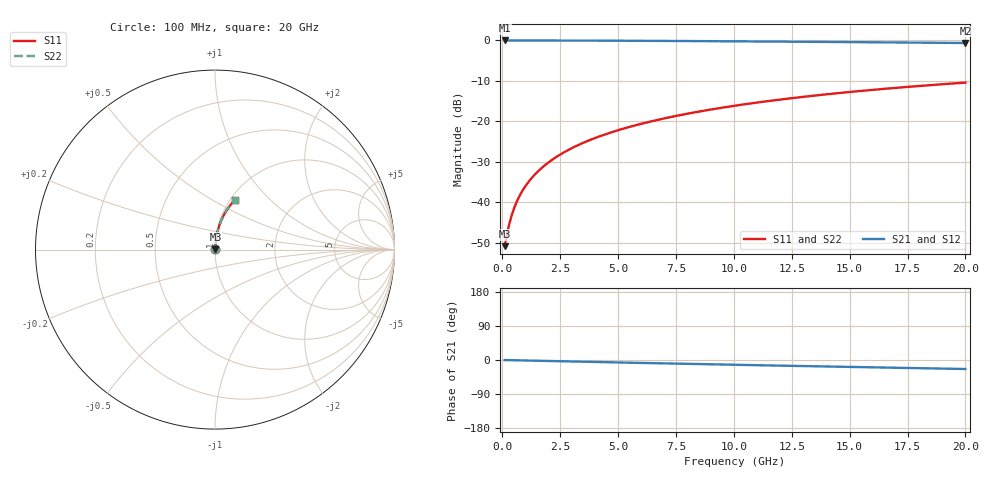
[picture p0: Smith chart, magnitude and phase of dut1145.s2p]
! Touchstone file exported from HFSS 2024.1.0
!  File:  C:/UserFiles/LocalFiles/RDL_TSV_Batchsim/temp_RDL_top_1145_1780047951.aedt
!  Generated:  05:47:56 PM May 29, 2026
!  Design:  RDL_top
!  Project:  temp_RDL_top_1145_1780047951
!  Setup:  Setup1
!  Solution:  Sweep
! Variables:
!  dtsv = 10.80580581um
!  hbump = 3um
!  htsv = 86.89um
!  ldown = 100um
!  lrdl = 265.81um
!  p = 40
!  p1 = 48.4um
!  rhole = 1um
!  t = 450um
!  tdown = 3.915915916um
!  trdl = 3.48um
!  wdown = 15.38538539um
!  wrdl = 11.99um
# GHz S MA R 50.000000
! Terminal data exported
! Port[1] = Box2_T1
! Port[2] = Box2_T2
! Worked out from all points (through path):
!   200 points, 100 MHz to 20 GHz, reference 50 ohm
!   highest |S21| = -0.02 dB at 100 MHz (marker M1); lowest = -0.6 dB at 20 GHz (marker M2)
!   group delay of S21, straight-line fit = 3.29 ps
!   lowest |S11| = -50.8 dB at 100 MHz (marker M3), VSWR 1.01, Z = 50.2 + j0.161 ohm
!   |S11| at or under -10 dB: start of sweep to end of sweep
!   |S22| runs from -50.8 to -10.4 dB; largest |S21 - S12| = 2e-15
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0.1  0.00288 33.9  0.9976 -0.1  0.9976 -0.1  0.00288 33.9
! Gamma 0 0 0 0
! Port Impedance 50 0 50 0
0.2  0.004018 52.9  0.9976 -0.3  0.9976 -0.3  0.004018 52.9
0.3  0.005389 62.7  0.9975 -0.4  0.9975 -0.4  0.005389 62.7
0.4  0.006843 68.3  0.9975 -0.5  0.9975 -0.5  0.006843 68.3
0.5  0.008328 71.8  0.9974 -0.7  0.9974 -0.7  0.008328 71.8
0.6  0.009829 74.3  0.9973 -0.8  0.9973 -0.8  0.009829 74.3
0.8  0.01285 77.5  0.9972 -1.1  0.9972 -1.1  0.01285 77.5
1.1  0.01742 80.1  0.997 -1.5  0.997 -1.5  0.01742 80.1
1.5  0.02354 82.0  0.9966 -2.0  0.9966 -2.0  0.02354 82.0
1.8  0.02816 82.7  0.9963 -2.4  0.9963 -2.4  0.02816 82.7
2.1  0.03278 83.2  0.996 -2.8  0.996 -2.8  0.03278 83.2
2.7  0.04206 83.7  0.9951 -3.5  0.9951 -3.5  0.04206 83.7
3.5  0.05446 83.7  0.9937 -4.6  0.9937 -4.6  0.05446 83.7
4.2  0.06533 83.5  0.9922 -5.5  0.9922 -5.5  0.06533 83.5
5  0.07778 83.0  0.9903 -6.5  0.9903 -6.5  0.07778 83.0
5.9  0.09179 82.4  0.9878 -7.6  0.9878 -7.6  0.09179 82.4
6.8  0.1058 81.7  0.9851 -8.7  0.9851 -8.7  0.1058 81.7
8.3  0.1291 80.3  0.9801 -10.5  0.9801 -10.5  0.1291 80.3
10.1  0.1569 78.5  0.9734 -12.7  0.9734 -12.7  0.1569 78.5
13.4  0.2069 75.1  0.9597 -16.5  0.9597 -16.5  0.2069 75.1
16.7  0.2551 71.5  0.9446 -20.2  0.9446 -20.2  0.2551 71.5
20  0.301 68.0  0.9283 -23.7  0.9283 -23.7  0.301 68.0
